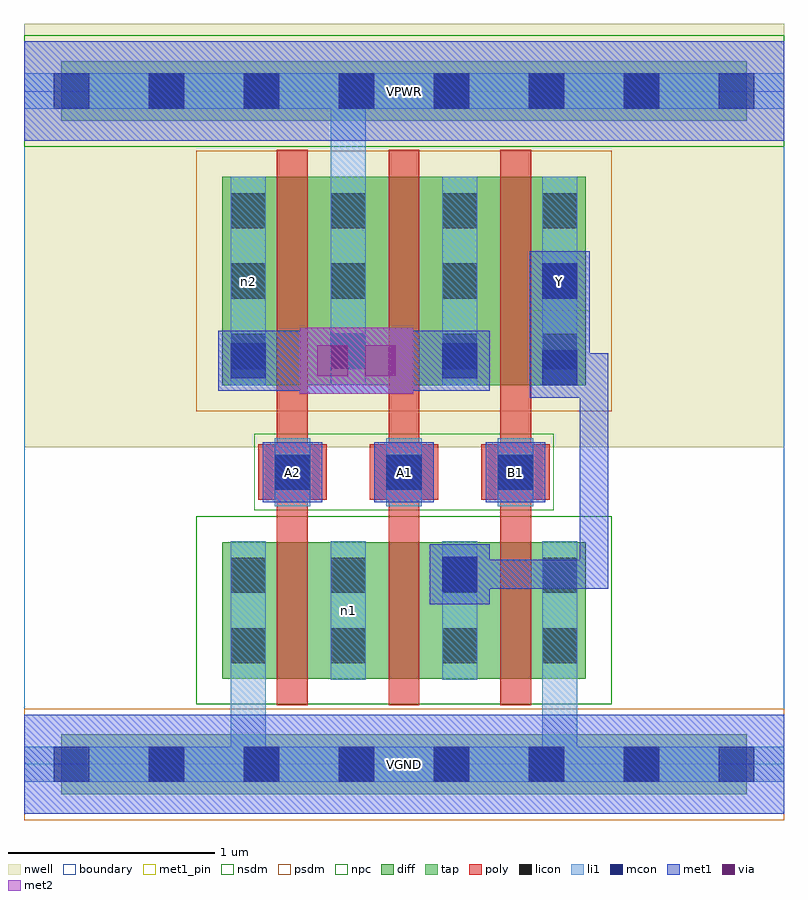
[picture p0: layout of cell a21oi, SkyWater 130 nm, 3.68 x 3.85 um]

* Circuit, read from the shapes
.subckt a21oi A1 A2 B1 VGND VPWR Y n1 n2
XM1 n1 A2 VGND VGND sky130_fd_pr__nfet_01v8 w=0.66 l=0.15
XM2 Y A1 n1 VGND sky130_fd_pr__nfet_01v8 w=0.66 l=0.15
XM3 VGND B1 Y VGND sky130_fd_pr__nfet_01v8 w=0.66 l=0.15
XM4 VPWR A2 n2 VPWR sky130_fd_pr__pfet_01v8 w=1.01 l=0.15
XM5 n2 A1 VPWR VPWR sky130_fd_pr__pfet_01v8 w=1.01 l=0.15
XM6 Y B1 n2 VPWR sky130_fd_pr__pfet_01v8 w=1.01 l=0.15
.ends

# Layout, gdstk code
import gdstk
lib = gdstk.Library(unit=1e-6, precision=1e-09)
def R(c, l, rs):  # rectangles x0, y0, x1, y1
    for r in rs: c.add(gdstk.rectangle(r[:2], r[2:], *l))
def A(c, l, x, y, w, h, nx, ny, dx, dy):  # array of equal rectangles
    R(c, l, [(x+i*dx, y+j*dy, x+i*dx+w, y+j*dy+h) for i in range(nx) for j in range(ny)])
nwell = (64, 20)
diff = (65, 20)
tap = (65, 44)
poly = (66, 20)
licon = (66, 44)
li1 = (67, 20)
mcon = (67, 44)
met1_pin = (68, 16)
met1 = (68, 20)
via = (68, 44)
met2 = (69, 20)
nsdm = (93, 44)
psdm = (94, 20)
npc = (95, 20)
boundary = (235, 4)

a21oi = lib.new_cell('a21oi')
R(a21oi, nwell, [(0,1.535,3.68,3.585)])
R(a21oi, diff, [(0.96,0.415,2.72,1.075), (0.96,1.835,2.72,2.845)])
R(a21oi, tap, [(0.18,-0.145,3.5,0.145), (0.18,3.115,3.5,3.405)])
A(a21oi, poly, 1.225, 0.285, 0.15, 2.69, 3, 1, 0.54, 0)
A(a21oi, poly, 1.135, 1.28, 0.33, 0.27, 3, 1, 0.54, 0)
A(a21oi, licon, 0.605, -0.085, 0.17, 0.17, 6, 2, 0.46, 3.26)
A(a21oi, licon, 1.215, 1.33, 0.17, 0.17, 3, 1, 0.54, 0)
A(a21oi, licon, 1, 1.915, 0.17, 0.17, 1, 3, 0, 0.34)
A(a21oi, licon, 1.485, 1.915, 0.17, 0.17, 1, 3, 0, 0.34)
A(a21oi, licon, 2.025, 1.915, 0.17, 0.17, 1, 3, 0, 0.34)
A(a21oi, licon, 2.51, 1.915, 0.17, 0.17, 1, 3, 0, 0.34)
R(a21oi, licon, [(1,0.49,1.17,0.66), (1.485,0.49,1.655,0.66), (2.025,0.49,2.195,0.66), (2.51,0.49,2.68,0.66), (1,0.83,1.17,1), (1.485,0.83,1.655,1), (2.025,0.83,2.195,1), (2.51,0.83,2.68,1)])
A(a21oi, li1, 1.215, 1.25, 0.17, 0.33, 3, 1, 0.54, 0)
R(a21oi, li1, [(0,-0.085,3.68,0.085), (1,-0.085,1.17,1.08), (2.51,-0.085,2.68,1.08), (1,0.41,1.17,1.08), (1.485,0.41,1.655,1.08), (2.025,0.41,2.195,1.08), (2.51,0.41,2.68,1.08), (1,1.835,1.17,2.845), (1.485,1.835,1.655,2.845), (1.485,1.835,1.655,3.345), (2.025,1.835,2.195,2.845), (2.51,1.835,2.68,2.845), (0,3.175,3.68,3.345)])
A(a21oi, mcon, 0.145, -0.085, 0.17, 0.17, 8, 2, 0.46, 3.26)
A(a21oi, mcon, 1.215, 1.33, 0.17, 0.17, 3, 1, 0.54, 0)
R(a21oi, mcon, [(2.025,0.835,2.195,1.005), (2.51,1.835,2.68,2.005), (1,1.87,1.17,2.04), (2.025,1.87,2.195,2.04), (2.51,2.255,2.68,2.425)])
A(a21oi, met1_pin, 1.155, 1.27, 0.29, 0.29, 3, 1, 0.54, 0)
R(a21oi, met1_pin, [(0,-0.24,3.68,0.24), (2.45,2.195,2.74,2.485), (0,3.02,3.68,3.5)])
A(a21oi, met1, 1.155, 1.27, 0.29, 0.29, 3, 1, 0.54, 0)
R(a21oi, met1, [(0,-0.24,3.68,0.24), (1.965,0.775,2.255,1.065), (2.04,0.85,2.37,0.99), (2.23,0.85,2.83,0.99), (2.69,0.85,2.83,1.795), (2.69,1.655,2.83,1.99), (2.45,1.775,2.74,2.065), (1.335,1.795,1.655,2.115), (1.565,1.795,1.885,2.115), (0.94,1.81,1.23,2.1), (1.23,1.81,1.335,2.1), (1.885,1.81,1.965,2.1), (1.965,1.81,2.255,2.1), (2.525,1.85,2.83,1.99), (1.015,1.885,1.335,2.025), (1.195,1.885,1.565,2.025), (1.655,1.885,2.025,2.025), (1.885,1.885,2.18,2.025), (2.45,2.065,2.74,2.195), (2.45,2.195,2.74,2.485), (0,3.02,3.68,3.5)])
R(a21oi, via, [(1.42,1.88,1.57,2.03), (1.65,1.88,1.8,2.03)])
R(a21oi, met2, [(1.335,1.795,1.655,2.115), (1.565,1.795,1.885,2.115), (1.425,1.885,1.795,2.025)])
R(a21oi, nsdm, [(0.835,0.29,2.845,1.2), (0,2.99,3.68,3.53)])
R(a21oi, psdm, [(0,-0.27,3.68,0.27), (0.835,1.71,2.845,2.97)])
R(a21oi, npc, [(1.115,1.23,2.565,1.6)])
R(a21oi, boundary, [(0,0,3.68,3.26)])
a21oi.add(gdstk.Label('n1', (1.57,0.745), layer=67, texttype=5))
a21oi.add(gdstk.Label('n2', (1.085,2.34), layer=67, texttype=5))
a21oi.add(gdstk.Label('A1', (1.84,1.415), layer=68, texttype=5))
a21oi.add(gdstk.Label('A2', (1.3,1.415), layer=68, texttype=5))
a21oi.add(gdstk.Label('B1', (2.38,1.415), layer=68, texttype=5))
a21oi.add(gdstk.Label('Y', (2.595,2.34), layer=68, texttype=5))
a21oi.add(gdstk.Label('VPWR', (1.84,3.26), layer=68, texttype=5))
a21oi.add(gdstk.Label('VGND', (1.84,0), layer=68, texttype=5))
a21oi.add(gdstk.Label('A1', (1.84,1.415), layer=68, texttype=16))
a21oi.add(gdstk.Label('A2', (1.3,1.415), layer=68, texttype=16))
a21oi.add(gdstk.Label('B1', (2.38,1.415), layer=68, texttype=16))
a21oi.add(gdstk.Label('Y', (2.595,2.34), layer=68, texttype=16))
a21oi.add(gdstk.Label('VPWR', (1.84,3.26), layer=68, texttype=16))
a21oi.add(gdstk.Label('VGND', (1.84,0), layer=68, texttype=16))

lib.write_gds('a21oi.gds')
